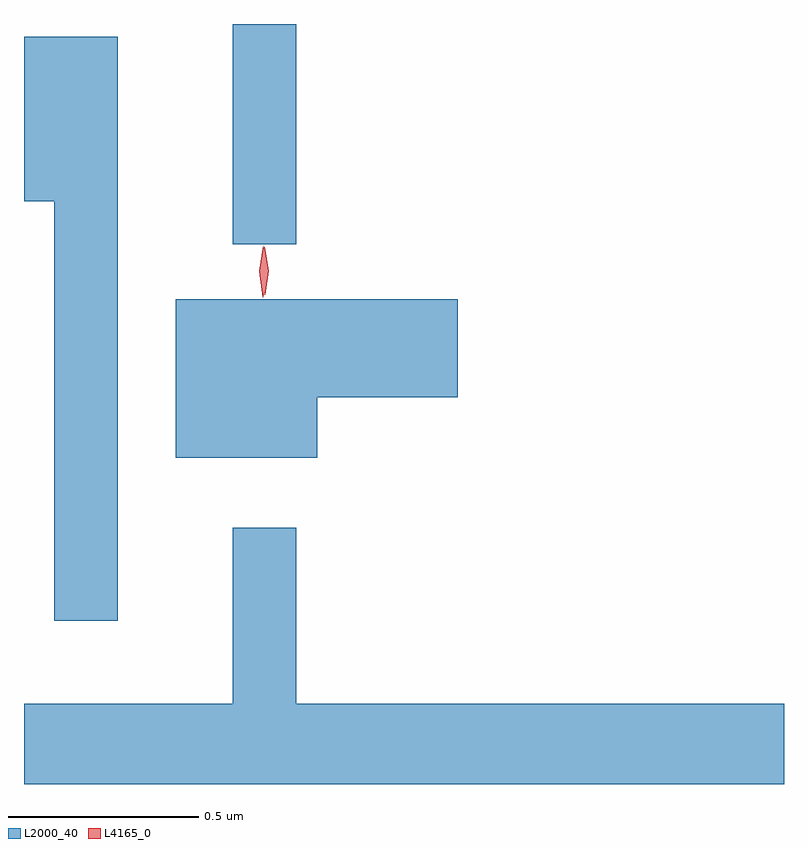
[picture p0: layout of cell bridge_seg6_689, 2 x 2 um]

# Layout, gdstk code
import gdstk
lib = gdstk.Library(unit=1e-6, precision=1e-09)
def R(c, l, rs):  # rectangles x0, y0, x1, y1
    for r in rs: c.add(gdstk.rectangle(r[:2], r[2:], *l))
def P(c, l, *ps):  # polygons
    for p in ps: c.add(gdstk.Polygon(p, *l))
L2000_40 = (2000, 40)
L4165_0 = (4165, 0)

bridge_seg6_689 = lib.new_cell('bridge_seg6_689')
R(bridge_seg6_689, L2000_40, [(238.951,1629.213,239.119,1629.793)])
P(bridge_seg6_689, L2000_40, [(238.649,1629.759),(238.402,1629.759),(238.402,1629.326),(238.481,1629.326),(238.481,1628.223),(238.649,1628.223)],
  [(239.174,1628.811),(239.544,1628.811),(239.544,1629.069),(238.801,1629.069),(238.801,1628.651),(239.174,1628.651)],
  [(240.402,1628.004),(239.119,1628.004),(239.119,1628.468),(238.951,1628.468),(238.951,1628.004),(238.402,1628.004),(238.402,1627.793),(240.402,1627.793)])
P(bridge_seg6_689, L4165_0, [(239.036,1629.08),(239.036,1629.081),(239.026,1629.144),(239.034,1629.206),(239.035,1629.207),(239.036,1629.206),(239.046,1629.144),(239.037,1629.081)],
  [(239.03,1629.074),(239.03,1629.074),(239.021,1629.142),(239.031,1629.21),(239.032,1629.21),(239.032,1629.21),(239.041,1629.142),(239.031,1629.074)])

lib.write_gds('bridge_seg6_689.gds')
